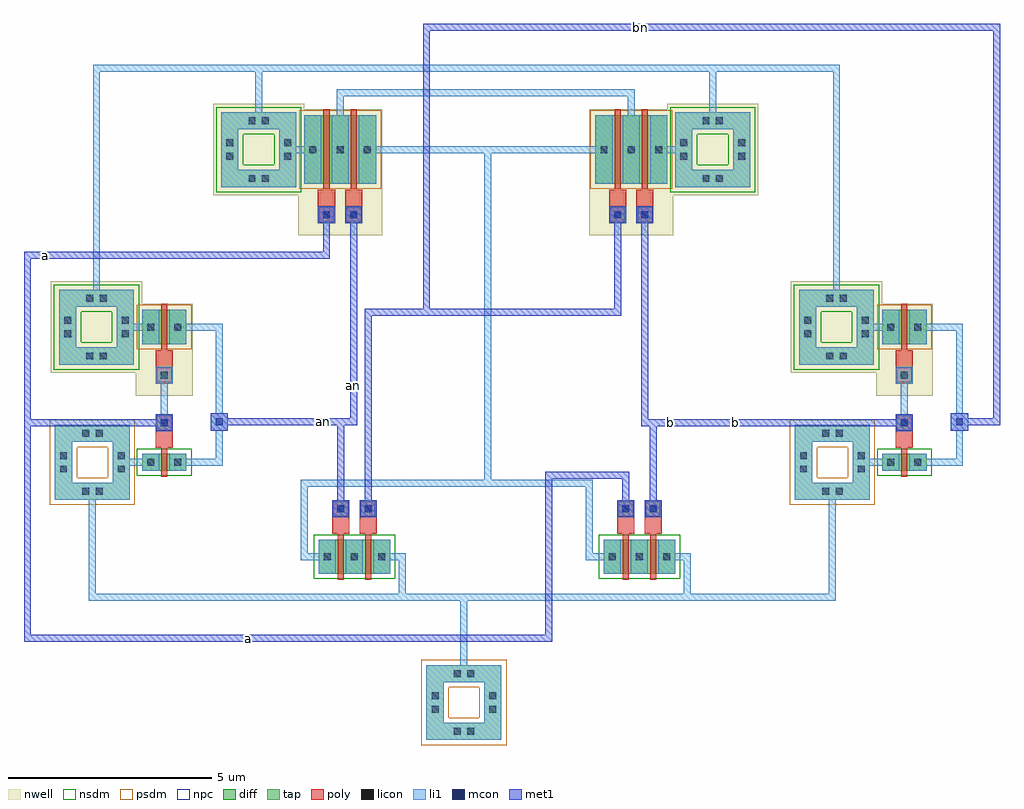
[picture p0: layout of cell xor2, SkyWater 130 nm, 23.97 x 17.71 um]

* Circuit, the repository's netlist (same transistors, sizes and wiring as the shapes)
* extracted by klt extract --deck sky130

* cell xor2
* pin a,b,invb_a,mn12_g1,mp24_g0
* pin a,inva_a,mn12_g0,mp13_g0
* pin an,inva_y,mn34_g0,mp13_g1,y
* pin bn,invb_y,mn34_g1,mp24_g1,y
* pin mid
* pin vdd
* pin vss
* pin y
.SUBCKT xor2 a|b|invb_a|mn12_g1|mp24_g0 a|inva_a|mn12_g0|mp13_g0
+ an|inva_y|mn34_g0|mp13_g1|y bn|invb_y|mn34_g1|mp24_g1|y mid vdd vss y
* device instance $1 r0 *1 0.895,3 nfet
M$1 \$3 an|inva_y|mn34_g0|mp13_g1|y y vss nfet L=0.15U W=0.84U AS=0.3948P
+ AD=0.2184P PS=2.62U PD=1.36U
* device instance $2 r0 *1 1.565,3 nfet
M$2 vss bn|invb_y|mn34_g1|mp24_g1|y \$3 vss nfet L=0.15U W=0.84U AS=0.2184P
+ AD=0.3948P PS=1.36U PD=2.62U
* device instance $3 r0 *1 7.895,3 nfet
M$3 \$6 a|inva_a|mn12_g0|mp13_g0 y vss nfet L=0.15U W=0.84U AS=0.3948P
+ AD=0.2184P PS=2.62U PD=1.36U
* device instance $4 r0 *1 8.565,3 nfet
M$4 vss a|b|invb_a|mn12_g1|mp24_g0 \$6 vss nfet L=0.15U W=0.84U AS=0.2184P
+ AD=0.3948P PS=1.36U PD=2.62U
* device instance $5 r0 *1 -3.44,5.32 nfet
M$5 an|inva_y|mn34_g0|mp13_g1|y a|inva_a|mn12_g0|mp13_g0 vss vss nfet L=0.15U
+ W=0.42U AS=0.1974P AD=0.1974P PS=1.78U PD=1.78U
* device instance $6 r0 *1 14.735,5.32 nfet
M$6 bn|invb_y|mn34_g1|mp24_g1|y a|b|invb_a|mn12_g1|mp24_g0 vss vss nfet L=0.15U
+ W=0.42U AS=0.1974P AD=0.1974P PS=1.78U PD=1.78U
* device instance $7 r0 *1 -3.44,8.64 pfet
M$7 an|inva_y|mn34_g0|mp13_g1|y a|inva_a|mn12_g0|mp13_g0 vdd vdd pfet L=0.15U
+ W=0.84U AS=0.3948P AD=0.3948P PS=2.62U PD=2.62U
* device instance $8 r0 *1 14.735,8.64 pfet
M$8 bn|invb_y|mn34_g1|mp24_g1|y a|b|invb_a|mn12_g1|mp24_g0 vdd vdd pfet L=0.15U
+ W=0.84U AS=0.3948P AD=0.3948P PS=2.62U PD=2.62U
* device instance $9 r0 *1 0.545,13 pfet
M$9 mid a|inva_a|mn12_g0|mp13_g0 vdd vdd pfet L=0.15U W=1.68U AS=0.7896P
+ AD=0.4368P PS=4.3U PD=2.2U
* device instance $10 r0 *1 1.215,13 pfet
M$10 y an|inva_y|mn34_g0|mp13_g1|y mid vdd pfet L=0.15U W=1.68U AS=0.4368P
+ AD=0.7896P PS=2.2U PD=4.3U
* device instance $11 r0 *1 7.695,13 pfet
M$11 mid bn|invb_y|mn34_g1|mp24_g1|y y vdd pfet L=0.15U W=1.68U AS=0.7896P
+ AD=0.4368P PS=4.3U PD=2.2U
* device instance $12 r0 *1 8.365,13 pfet
M$12 vdd a|b|invb_a|mn12_g1|mp24_g0 mid vdd pfet L=0.15U W=1.68U AS=0.4368P
+ AD=0.7896P PS=2.2U PD=4.3U
.ENDS xor2

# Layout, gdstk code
from math import pi, radians
import gdstk
lib = gdstk.Library(unit=1e-6, precision=1e-09)
def R(c, l, rs):  # rectangles x0, y0, x1, y1
    for r in rs: c.add(gdstk.rectangle(r[:2], r[2:], *l))
def A(c, l, x, y, w, h, nx, ny, dx, dy):  # array of equal rectangles
    R(c, l, [(x+i*dx, y+j*dy, x+i*dx+w, y+j*dy+h) for i in range(nx) for j in range(ny)])
def P(c, l, *ps):  # polygons
    for p in ps: c.add(gdstk.Polygon(p, *l))
nwell = (64, 20)
diff = (65, 20)
tap = (65, 44)
poly = (66, 20)
licon = (66, 44)
li1 = (67, 20)
mcon = (67, 44)
met1 = (68, 20)
nsdm = (93, 44)
psdm = (94, 20)
npc = (95, 20)

guard_ring_4 = lib.new_cell('guard_ring$4')
P(guard_ring_4, tap, [(0,0),(0,1.42),(0.42,1.42),(0.42,0.42),(1.42,0.42),(1.42,1.42),(0,1.42),(0,1.84),(1.84,1.84),(1.84,0)])
R(guard_ring_4, licon, [(0.67,0.125,0.84,0.295), (1,0.125,1.17,0.295), (0.125,0.67,0.295,0.84), (1.545,0.67,1.715,0.84), (0.125,1,0.295,1.17), (1.545,1,1.715,1.17), (0.67,1.545,0.84,1.715), (1,1.545,1.17,1.715)])
P(guard_ring_4, li1, [(0,0),(0,1.42),(0.42,1.42),(0.42,0.42),(1.42,0.42),(1.42,1.42),(0,1.42),(0,1.84),(1.84,1.84),(1.84,0)])
P(guard_ring_4, psdm, [(-0.125,-0.125),(-0.125,1.295),(0.545,1.295),(0.545,0.545),(1.295,0.545),(1.295,1.295),(-0.125,1.295),(-0.125,1.965),(1.965,1.965),(1.965,-0.125)])

psub_tap__psub_tap_1 = lib.new_cell('psub_tap__psub_tap$1')
psub_tap__psub_tap_1.add(gdstk.Reference(guard_ring_4, (0,0)))

mos_array_5 = lib.new_cell('mos_array$5')
R(mos_array_5, diff, [(0,0,1.09,0.42)])
R(mos_array_5, poly, [(0.47,-0.15,0.62,0.42), (0.47,0.42,0.62,0.57), (0.47,0.42,0.62,0.57), (0.335,0.57,0.755,1.39)])
R(mos_array_5, licon, [(0.125,0.125,0.295,0.295), (0.795,0.125,0.965,0.295), (0.46,1.095,0.63,1.265)])
R(mos_array_5, li1, [(0,0,0.42,0.42), (0.67,0,1.09,0.42), (0.335,0.97,0.755,1.39)])
R(mos_array_5, nsdm, [(-0.125,-0.125,1.215,0.545)])
R(mos_array_5, npc, [(0.365,1,0.725,1.36)])

mn__nfet_w0p42_l0p15_1 = lib.new_cell('mn__nfet_w0p42_l0p15$1')
mn__nfet_w0p42_l0p15_1.add(gdstk.Reference(mos_array_5, (0,0)))

guard_ring_1_2 = lib.new_cell('guard_ring$1$2')
R(guard_ring_1_2, nwell, [(-0.2,-0.2,2.04,2.04)])
P(guard_ring_1_2, tap, [(0,0),(0,1.42),(0.42,1.42),(0.42,0.42),(1.42,0.42),(1.42,1.42),(0,1.42),(0,1.84),(1.84,1.84),(1.84,0)])
R(guard_ring_1_2, licon, [(0.67,0.125,0.84,0.295), (1,0.125,1.17,0.295), (0.125,0.67,0.295,0.84), (1.545,0.67,1.715,0.84), (0.125,1,0.295,1.17), (1.545,1,1.715,1.17), (0.67,1.545,0.84,1.715), (1,1.545,1.17,1.715)])
P(guard_ring_1_2, li1, [(0,0),(0,1.42),(0.42,1.42),(0.42,0.42),(1.42,0.42),(1.42,1.42),(0,1.42),(0,1.84),(1.84,1.84),(1.84,0)])
P(guard_ring_1_2, nsdm, [(-0.125,-0.125),(-0.125,1.295),(0.545,1.295),(0.545,0.545),(1.295,0.545),(1.295,1.295),(-0.125,1.295),(-0.125,1.965),(1.965,1.965),(1.965,-0.125)])

nwell_tap__nwell_tap_1 = lib.new_cell('nwell_tap__nwell_tap$1')
nwell_tap__nwell_tap_1.add(gdstk.Reference(guard_ring_1_2, (0,0)))

mos_array_1_2 = lib.new_cell('mos_array$1$2')
R(mos_array_1_2, nwell, [(-0.15,-0.15,1.24,2.11)])
R(mos_array_1_2, diff, [(0,0,1.09,0.84)])
R(mos_array_1_2, poly, [(0.47,-0.15,0.62,0.84), (0.47,0.84,0.62,0.99), (0.47,0.84,0.62,0.99), (0.335,0.99,0.755,1.81)])
R(mos_array_1_2, licon, [(0.125,0.335,0.295,0.505), (0.795,0.335,0.965,0.505), (0.46,1.515,0.63,1.685)])
R(mos_array_1_2, li1, [(0,0,0.42,0.84), (0.67,0,1.09,0.84), (0.335,1.39,0.755,1.81)])
R(mos_array_1_2, psdm, [(-0.125,-0.125,1.215,0.965)])
R(mos_array_1_2, npc, [(0.365,1.42,0.725,1.78)])

mp__pfet_w0p84_l0p15_1 = lib.new_cell('mp__pfet_w0p84_l0p15$1')
mp__pfet_w0p84_l0p15_1.add(gdstk.Reference(mos_array_1_2, (0,0)))

inv_b__ro_buf = lib.new_cell('inv_b__ro_buf')
R(inv_b__ro_buf, li1, [(0.335,1.18,0.755,1.35), (0.335,2.18,0.755,2.35)])
inv_b__ro_buf.add(gdstk.FlexPath([(0.545,2.35),(0.545,1.18)], 0.17, ends="flush", simple_path=True, layer=67, datatype=20))  # li1
inv_b__ro_buf.add(gdstk.FlexPath([(0.88,3.53),(1.9,3.53),(1.9,0.21),(0.88,0.21)], 0.17, ends="flush", simple_path=True, layer=67, datatype=20))  # li1
inv_b__ro_buf.add(gdstk.FlexPath([(0.21,3.53),(-0.41,3.53)], 0.17, ends="flush", simple_path=True, layer=67, datatype=20))  # li1
inv_b__ro_buf.add(gdstk.FlexPath([(0.21,0.21),(-0.51,0.21)], 0.17, ends="flush", simple_path=True, layer=67, datatype=20))  # li1
inv_b__ro_buf.add(gdstk.Reference(psub_tap__psub_tap_1, (-2.14,-0.71)))
inv_b__ro_buf.add(gdstk.Reference(mn__nfet_w0p42_l0p15_1, (0,0)))
inv_b__ro_buf.add(gdstk.Reference(nwell_tap__nwell_tap_1, (-2.04,2.61)))
inv_b__ro_buf.add(gdstk.Reference(mp__pfet_w0p84_l0p15_1, (0,3.95), x_reflection=True))
inv_b__ro_buf.add(gdstk.Label('a', (0.545,1.765), layer=67, texttype=5))
inv_b__ro_buf.add(gdstk.Label('y', (1.9,1.87), layer=67, texttype=5))
inv_b__ro_buf.add(gdstk.Label('vdd', (-0.1,3.53), layer=67, texttype=5))
inv_b__ro_buf.add(gdstk.Label('vss', (-0.15,0.21), layer=67, texttype=5))
inv_b__ro_buf.add(gdstk.Label('vdd', (-1.12,4.24), layer=67, texttype=5))
inv_b__ro_buf.add(gdstk.Label('vss', (-1.22,0.92), layer=67, texttype=5))

guard_ring_3 = lib.new_cell('guard_ring$3')
P(guard_ring_3, tap, [(0,0),(0,1.42),(0.42,1.42),(0.42,0.42),(1.42,0.42),(1.42,1.42),(0,1.42),(0,1.84),(1.84,1.84),(1.84,0)])
R(guard_ring_3, licon, [(0.67,0.125,0.84,0.295), (1,0.125,1.17,0.295), (0.125,0.67,0.295,0.84), (1.545,0.67,1.715,0.84), (0.125,1,0.295,1.17), (1.545,1,1.715,1.17), (0.67,1.545,0.84,1.715), (1,1.545,1.17,1.715)])
P(guard_ring_3, li1, [(0,0),(0,1.42),(0.42,1.42),(0.42,0.42),(1.42,0.42),(1.42,1.42),(0,1.42),(0,1.84),(1.84,1.84),(1.84,0)])
P(guard_ring_3, psdm, [(-0.125,-0.125),(-0.125,1.295),(0.545,1.295),(0.545,0.545),(1.295,0.545),(1.295,1.295),(-0.125,1.295),(-0.125,1.965),(1.965,1.965),(1.965,-0.125)])

psub_tap__psub_tap = lib.new_cell('psub_tap__psub_tap')
psub_tap__psub_tap.add(gdstk.Reference(guard_ring_3, (0,0)))

mos_array_4 = lib.new_cell('mos_array$4')
R(mos_array_4, diff, [(0,0,1.09,0.42)])
R(mos_array_4, poly, [(0.47,-0.15,0.62,0.42), (0.47,0.42,0.62,0.57), (0.47,0.42,0.62,0.57), (0.335,0.57,0.755,1.39)])
R(mos_array_4, licon, [(0.125,0.125,0.295,0.295), (0.795,0.125,0.965,0.295), (0.46,1.095,0.63,1.265)])
R(mos_array_4, li1, [(0,0,0.42,0.42), (0.67,0,1.09,0.42), (0.335,0.97,0.755,1.39)])
R(mos_array_4, nsdm, [(-0.125,-0.125,1.215,0.545)])
R(mos_array_4, npc, [(0.365,1,0.725,1.36)])

mn__nfet_w0p42_l0p15 = lib.new_cell('mn__nfet_w0p42_l0p15')
mn__nfet_w0p42_l0p15.add(gdstk.Reference(mos_array_4, (0,0)))

guard_ring_1_1 = lib.new_cell('guard_ring$1$1')
R(guard_ring_1_1, nwell, [(-0.2,-0.2,2.04,2.04)])
P(guard_ring_1_1, tap, [(0,0),(0,1.42),(0.42,1.42),(0.42,0.42),(1.42,0.42),(1.42,1.42),(0,1.42),(0,1.84),(1.84,1.84),(1.84,0)])
R(guard_ring_1_1, licon, [(0.67,0.125,0.84,0.295), (1,0.125,1.17,0.295), (0.125,0.67,0.295,0.84), (1.545,0.67,1.715,0.84), (0.125,1,0.295,1.17), (1.545,1,1.715,1.17), (0.67,1.545,0.84,1.715), (1,1.545,1.17,1.715)])
P(guard_ring_1_1, li1, [(0,0),(0,1.42),(0.42,1.42),(0.42,0.42),(1.42,0.42),(1.42,1.42),(0,1.42),(0,1.84),(1.84,1.84),(1.84,0)])
P(guard_ring_1_1, nsdm, [(-0.125,-0.125),(-0.125,1.295),(0.545,1.295),(0.545,0.545),(1.295,0.545),(1.295,1.295),(-0.125,1.295),(-0.125,1.965),(1.965,1.965),(1.965,-0.125)])

nwell_tap__nwell_tap = lib.new_cell('nwell_tap__nwell_tap')
nwell_tap__nwell_tap.add(gdstk.Reference(guard_ring_1_1, (0,0)))

mos_array_1_1 = lib.new_cell('mos_array$1$1')
R(mos_array_1_1, nwell, [(-0.15,-0.15,1.24,2.11)])
R(mos_array_1_1, diff, [(0,0,1.09,0.84)])
R(mos_array_1_1, poly, [(0.47,-0.15,0.62,0.84), (0.47,0.84,0.62,0.99), (0.47,0.84,0.62,0.99), (0.335,0.99,0.755,1.81)])
R(mos_array_1_1, licon, [(0.125,0.335,0.295,0.505), (0.795,0.335,0.965,0.505), (0.46,1.515,0.63,1.685)])
R(mos_array_1_1, li1, [(0,0,0.42,0.84), (0.67,0,1.09,0.84), (0.335,1.39,0.755,1.81)])
R(mos_array_1_1, psdm, [(-0.125,-0.125,1.215,0.965)])
R(mos_array_1_1, npc, [(0.365,1.42,0.725,1.78)])

mp__pfet_w0p84_l0p15 = lib.new_cell('mp__pfet_w0p84_l0p15')
mp__pfet_w0p84_l0p15.add(gdstk.Reference(mos_array_1_1, (0,0)))

inv_a__ro_buf = lib.new_cell('inv_a__ro_buf')
R(inv_a__ro_buf, li1, [(0.335,1.18,0.755,1.35), (0.335,2.18,0.755,2.35)])
inv_a__ro_buf.add(gdstk.FlexPath([(0.545,2.35),(0.545,1.18)], 0.17, ends="flush", simple_path=True, layer=67, datatype=20))  # li1
inv_a__ro_buf.add(gdstk.FlexPath([(0.88,3.53),(1.9,3.53),(1.9,0.21),(0.88,0.21)], 0.17, ends="flush", simple_path=True, layer=67, datatype=20))  # li1
inv_a__ro_buf.add(gdstk.FlexPath([(0.21,3.53),(-0.41,3.53)], 0.17, ends="flush", simple_path=True, layer=67, datatype=20))  # li1
inv_a__ro_buf.add(gdstk.FlexPath([(0.21,0.21),(-0.51,0.21)], 0.17, ends="flush", simple_path=True, layer=67, datatype=20))  # li1
inv_a__ro_buf.add(gdstk.Reference(psub_tap__psub_tap, (-2.14,-0.71)))
inv_a__ro_buf.add(gdstk.Reference(mn__nfet_w0p42_l0p15, (0,0)))
inv_a__ro_buf.add(gdstk.Reference(nwell_tap__nwell_tap, (-2.04,2.61)))
inv_a__ro_buf.add(gdstk.Reference(mp__pfet_w0p84_l0p15, (0,3.95), x_reflection=True))
inv_a__ro_buf.add(gdstk.Label('a', (0.545,1.765), layer=67, texttype=5))
inv_a__ro_buf.add(gdstk.Label('y', (1.9,1.87), layer=67, texttype=5))
inv_a__ro_buf.add(gdstk.Label('vdd', (-0.1,3.53), layer=67, texttype=5))
inv_a__ro_buf.add(gdstk.Label('vss', (-0.15,0.21), layer=67, texttype=5))
inv_a__ro_buf.add(gdstk.Label('vdd', (-1.12,4.24), layer=67, texttype=5))
inv_a__ro_buf.add(gdstk.Label('vss', (-1.22,0.92), layer=67, texttype=5))

guard_ring_2 = lib.new_cell('guard_ring$2')
P(guard_ring_2, tap, [(0,0),(0,1.42),(0.42,1.42),(0.42,0.42),(1.42,0.42),(1.42,1.42),(0,1.42),(0,1.84),(1.84,1.84),(1.84,0)])
R(guard_ring_2, licon, [(0.67,0.125,0.84,0.295), (1,0.125,1.17,0.295), (0.125,0.67,0.295,0.84), (1.545,0.67,1.715,0.84), (0.125,1,0.295,1.17), (1.545,1,1.715,1.17), (0.67,1.545,0.84,1.715), (1,1.545,1.17,1.715)])
P(guard_ring_2, li1, [(0,0),(0,1.42),(0.42,1.42),(0.42,0.42),(1.42,0.42),(1.42,1.42),(0,1.42),(0,1.84),(1.84,1.84),(1.84,0)])
P(guard_ring_2, psdm, [(-0.125,-0.125),(-0.125,1.295),(0.545,1.295),(0.545,0.545),(1.295,0.545),(1.295,1.295),(-0.125,1.295),(-0.125,1.965),(1.965,1.965),(1.965,-0.125)])

pst__pst = lib.new_cell('pst__pst')
pst__pst.add(gdstk.Reference(guard_ring_2, (0,0)))

guard_ring_1 = lib.new_cell('guard_ring$1')
R(guard_ring_1, nwell, [(-0.2,-0.2,2.04,2.04)])
P(guard_ring_1, tap, [(0,0),(0,1.42),(0.42,1.42),(0.42,0.42),(1.42,0.42),(1.42,1.42),(0,1.42),(0,1.84),(1.84,1.84),(1.84,0)])
R(guard_ring_1, licon, [(0.67,0.125,0.84,0.295), (1,0.125,1.17,0.295), (0.125,0.67,0.295,0.84), (1.545,0.67,1.715,0.84), (0.125,1,0.295,1.17), (1.545,1,1.715,1.17), (0.67,1.545,0.84,1.715), (1,1.545,1.17,1.715)])
P(guard_ring_1, li1, [(0,0),(0,1.42),(0.42,1.42),(0.42,0.42),(1.42,0.42),(1.42,1.42),(0,1.42),(0,1.84),(1.84,1.84),(1.84,0)])
P(guard_ring_1, nsdm, [(-0.125,-0.125),(-0.125,1.295),(0.545,1.295),(0.545,0.545),(1.295,0.545),(1.295,1.295),(-0.125,1.295),(-0.125,1.965),(1.965,1.965),(1.965,-0.125)])

nwt2__nwt2 = lib.new_cell('nwt2__nwt2')
nwt2__nwt2.add(gdstk.Reference(guard_ring_1, (0,0)))

guard_ring = lib.new_cell('guard_ring')
R(guard_ring, nwell, [(-0.2,-0.2,2.04,2.04)])
P(guard_ring, tap, [(0,0),(0,1.42),(0.42,1.42),(0.42,0.42),(1.42,0.42),(1.42,1.42),(0,1.42),(0,1.84),(1.84,1.84),(1.84,0)])
R(guard_ring, licon, [(0.67,0.125,0.84,0.295), (1,0.125,1.17,0.295), (0.125,0.67,0.295,0.84), (1.545,0.67,1.715,0.84), (0.125,1,0.295,1.17), (1.545,1,1.715,1.17), (0.67,1.545,0.84,1.715), (1,1.545,1.17,1.715)])
P(guard_ring, li1, [(0,0),(0,1.42),(0.42,1.42),(0.42,0.42),(1.42,0.42),(1.42,1.42),(0,1.42),(0,1.84),(1.84,1.84),(1.84,0)])
P(guard_ring, nsdm, [(-0.125,-0.125),(-0.125,1.295),(0.545,1.295),(0.545,0.545),(1.295,0.545),(1.295,1.295),(-0.125,1.295),(-0.125,1.965),(1.965,1.965),(1.965,-0.125)])

nwt1__nwt1 = lib.new_cell('nwt1__nwt1')
nwt1__nwt1.add(gdstk.Reference(guard_ring, (0,0)))

mos_array_3 = lib.new_cell('mos_array$3')
R(mos_array_3, diff, [(0,0,1.76,0.84)])
R(mos_array_3, poly, [(0.47,-0.15,0.62,0.84), (1.14,-0.15,1.29,0.84), (0.47,0.84,0.62,0.99), (0.47,0.84,0.62,0.99), (1.14,0.84,1.29,0.99), (1.14,0.84,1.29,0.99), (0.335,0.99,0.755,1.81), (1.005,0.99,1.425,1.81)])
A(mos_array_3, licon, 0.125, 0.335, 0.17, 0.17, 3, 1, 0.67, 0)
R(mos_array_3, licon, [(0.46,1.515,0.63,1.685), (1.13,1.515,1.3,1.685)])
A(mos_array_3, li1, 0, 0, 0.42, 0.84, 3, 1, 0.67, 0)
R(mos_array_3, li1, [(0.335,1.39,0.755,1.81), (1.005,1.39,1.425,1.81)])
R(mos_array_3, nsdm, [(-0.125,-0.125,1.885,0.965)])
R(mos_array_3, npc, [(0.365,1.42,0.725,1.78), (1.035,1.42,1.395,1.78)])

mn12__mn12 = lib.new_cell('mn12__mn12')
mn12__mn12.add(gdstk.Reference(mos_array_3, (0,0)))

mos_array_2 = lib.new_cell('mos_array$2')
R(mos_array_2, diff, [(0,0,1.76,0.84)])
R(mos_array_2, poly, [(0.47,-0.15,0.62,0.84), (1.14,-0.15,1.29,0.84), (0.47,0.84,0.62,0.99), (0.47,0.84,0.62,0.99), (1.14,0.84,1.29,0.99), (1.14,0.84,1.29,0.99), (0.335,0.99,0.755,1.81), (1.005,0.99,1.425,1.81)])
A(mos_array_2, licon, 0.125, 0.335, 0.17, 0.17, 3, 1, 0.67, 0)
R(mos_array_2, licon, [(0.46,1.515,0.63,1.685), (1.13,1.515,1.3,1.685)])
A(mos_array_2, li1, 0, 0, 0.42, 0.84, 3, 1, 0.67, 0)
R(mos_array_2, li1, [(0.335,1.39,0.755,1.81), (1.005,1.39,1.425,1.81)])
R(mos_array_2, nsdm, [(-0.125,-0.125,1.885,0.965)])
R(mos_array_2, npc, [(0.365,1.42,0.725,1.78), (1.035,1.42,1.395,1.78)])

mn34__mn34 = lib.new_cell('mn34__mn34')
mn34__mn34.add(gdstk.Reference(mos_array_2, (0,0)))

mos_array_1 = lib.new_cell('mos_array$1')
R(mos_array_1, nwell, [(-0.15,-0.15,1.91,2.95)])
R(mos_array_1, diff, [(0,0,1.76,1.68)])
R(mos_array_1, poly, [(0.47,-0.15,0.62,1.68), (1.14,-0.15,1.29,1.68), (0.47,1.68,0.62,1.83), (0.47,1.68,0.62,1.83), (1.14,1.68,1.29,1.83), (1.14,1.68,1.29,1.83), (0.335,1.83,0.755,2.65), (1.005,1.83,1.425,2.65)])
A(mos_array_1, licon, 0.125, 0.755, 0.17, 0.17, 3, 1, 0.67, 0)
R(mos_array_1, licon, [(0.46,2.355,0.63,2.525), (1.13,2.355,1.3,2.525)])
A(mos_array_1, li1, 0, 0, 0.42, 1.68, 3, 1, 0.67, 0)
R(mos_array_1, li1, [(0.335,2.23,0.755,2.65), (1.005,2.23,1.425,2.65)])
R(mos_array_1, psdm, [(-0.125,-0.125,1.885,1.805)])
R(mos_array_1, npc, [(0.365,2.26,0.725,2.62), (1.035,2.26,1.395,2.62)])

mp24__mp24 = lib.new_cell('mp24__mp24')
mp24__mp24.add(gdstk.Reference(mos_array_1, (0,0)))

mos_array = lib.new_cell('mos_array')
R(mos_array, nwell, [(-0.15,-0.15,1.91,2.95)])
R(mos_array, diff, [(0,0,1.76,1.68)])
R(mos_array, poly, [(0.47,-0.15,0.62,1.68), (1.14,-0.15,1.29,1.68), (0.47,1.68,0.62,1.83), (0.47,1.68,0.62,1.83), (1.14,1.68,1.29,1.83), (1.14,1.68,1.29,1.83), (0.335,1.83,0.755,2.65), (1.005,1.83,1.425,2.65)])
A(mos_array, licon, 0.125, 0.755, 0.17, 0.17, 3, 1, 0.67, 0)
R(mos_array, licon, [(0.46,2.355,0.63,2.525), (1.13,2.355,1.3,2.525)])
A(mos_array, li1, 0, 0, 0.42, 1.68, 3, 1, 0.67, 0)
R(mos_array, li1, [(0.335,2.23,0.755,2.65), (1.005,2.23,1.425,2.65)])
R(mos_array, psdm, [(-0.125,-0.125,1.885,1.805)])
R(mos_array, npc, [(0.365,2.26,0.725,2.62), (1.035,2.26,1.395,2.62)])

mp13__mp13 = lib.new_cell('mp13__mp13')
mp13__mp13.add(gdstk.Reference(mos_array, (0,0)))

core__core = lib.new_cell('core__core')
R(core__core, li1, [(3.71,0.13,4.13,0.3), (3.71,0.13,4.13,0.3), (-5.415,4.44,-4.995,4.61), (12.76,4.44,13.18,4.61), (-5.315,9.35,-4.895,9.52), (12.86,9.35,13.28,9.52), (0.67,13,1.09,13.17), (7.82,13,8.24,13.17), (-1.33,13.71,-0.91,13.88), (-1.33,13.71,-0.91,13.88), (9.82,13.71,10.24,13.88), (9.82,13.71,10.24,13.88)])
core__core.add(gdstk.FlexPath([(0.21,13),(-0.41,13)], 0.17, ends="flush", simple_path=True, layer=67, datatype=20))  # li1
core__core.add(gdstk.FlexPath([(8.7,13),(9.32,13)], 0.17, ends="flush", simple_path=True, layer=67, datatype=20))  # li1
core__core.add(gdstk.FlexPath([(-5.105,9.35),(-5.105,15),(-1.12,15),(-1.12,13.71)], 0.17, ends="flush", simple_path=True, layer=67, datatype=20))  # li1
core__core.add(gdstk.FlexPath([(-1.12,13.71),(-1.12,15),(10.03,15),(10.03,13.71)], 0.17, ends="flush", simple_path=True, layer=67, datatype=20))  # li1
core__core.add(gdstk.FlexPath([(10.03,13.71),(10.03,15),(13.07,15),(13.07,9.35)], 0.17, ends="flush", simple_path=True, layer=67, datatype=20))  # li1
core__core.add(gdstk.FlexPath([(0.88,13),(0.88,14.4),(8.03,14.4),(8.03,13)], 0.17, ends="flush", simple_path=True, layer=67, datatype=20))  # li1
core__core.add(gdstk.FlexPath([(1.55,13),(7.36,13)], 0.17, ends="flush", simple_path=True, layer=67, datatype=20))  # li1
core__core.add(gdstk.FlexPath([(7.36,13),(4.5,13),(4.5,4.8),(7,4.8),(7,3),(7.56,3)], 0.17, ends="flush", simple_path=True, layer=67, datatype=20))  # li1
core__core.add(gdstk.FlexPath([(7.56,3),(7,3),(7,4.8),(0,4.8),(0,3),(0.56,3)], 0.17, ends="flush", simple_path=True, layer=67, datatype=20))  # li1
core__core.add(gdstk.FlexPath([(-5.205,4.61),(-5.205,2),(2.4,2),(2.4,3),(1.9,3)], 0.17, ends="flush", simple_path=True, layer=67, datatype=20))  # li1
core__core.add(gdstk.FlexPath([(1.9,3),(2.4,3),(2.4,2),(3.92,2),(3.92,0.13)], 0.17, ends="flush", simple_path=True, layer=67, datatype=20))  # li1
core__core.add(gdstk.FlexPath([(3.92,0.13),(3.92,2),(9.4,2),(9.4,3),(8.9,3)], 0.17, ends="flush", simple_path=True, layer=67, datatype=20))  # li1
core__core.add(gdstk.FlexPath([(8.9,3),(9.4,3),(9.4,2),(12.97,2),(12.97,4.61)], 0.17, ends="flush", simple_path=True, layer=67, datatype=20))  # li1
core__core.add(gdstk.Reference(inv_b__ro_buf, (14.19,5.11)))
core__core.add(gdstk.Reference(inv_a__ro_buf, (-3.985,5.11)))
core__core.add(gdstk.Reference(pst__pst, (3,-1.5)))
core__core.add(gdstk.Reference(nwt2__nwt2, (9.11,12.08)))
core__core.add(gdstk.Reference(nwt1__nwt1, (-2.04,12.08)))
core__core.add(gdstk.Reference(mn12__mn12, (7.35,2.58)))
core__core.add(gdstk.Reference(mn34__mn34, (0.35,2.58)))
core__core.add(gdstk.Reference(mp24__mp24, (8.91,13.84), rotation=pi))
core__core.add(gdstk.Reference(mp13__mp13, (0,13.84), x_reflection=True))
core__core.add(gdstk.Label('vdd', (-0.1,13), layer=67, texttype=5))
core__core.add(gdstk.Label('vdd', (9.01,13), layer=67, texttype=5))
core__core.add(gdstk.Label('vdd', (-5.105,14.812), layer=67, texttype=5))
core__core.add(gdstk.Label('vdd', (4.455,15), layer=67, texttype=5))
core__core.add(gdstk.Label('vdd', (13.07,14.34), layer=67, texttype=5))
core__core.add(gdstk.Label('mid', (4.455,14.4), layer=67, texttype=5))
core__core.add(gdstk.Label('y', (4.455,13), layer=67, texttype=5))
core__core.add(gdstk.Label('y', (4.5,7.9), layer=67, texttype=5))
core__core.add(gdstk.Label('y', (3.5,4.8), layer=67, texttype=5))
core__core.add(gdstk.Label('vss', (-1.958,2), layer=67, texttype=5))
core__core.add(gdstk.Label('vss', (3.345,2), layer=67, texttype=5))
core__core.add(gdstk.Label('vss', (6.475,2), layer=67, texttype=5))
core__core.add(gdstk.Label('vss', (11.74,2), layer=67, texttype=5))
core__core.add(gdstk.Label('mp13_g0', (0.545,11.4), layer=67, texttype=5))
core__core.add(gdstk.Label('mp13_g1', (1.215,11.4), layer=67, texttype=5))
core__core.add(gdstk.Label('mp24_g0', (8.365,11.4), layer=67, texttype=5))
core__core.add(gdstk.Label('mp24_g1', (7.695,11.4), layer=67, texttype=5))
core__core.add(gdstk.Label('mn34_g0', (0.895,4.18), layer=67, texttype=5))
core__core.add(gdstk.Label('mn34_g1', (1.565,4.18), layer=67, texttype=5))
core__core.add(gdstk.Label('mn12_g0', (7.895,4.18), layer=67, texttype=5))
core__core.add(gdstk.Label('mn12_g1', (8.565,4.18), layer=67, texttype=5))
core__core.add(gdstk.Label('inva_a', (-3.44,6.29), layer=67, texttype=5))
core__core.add(gdstk.Label('inva_y', (-2.085,6.31), layer=67, texttype=5))
core__core.add(gdstk.Label('invb_a', (14.735,6.29), layer=67, texttype=5))
core__core.add(gdstk.Label('invb_y', (16.09,6.31), layer=67, texttype=5))

xor2 = lib.new_cell('xor2')
R(xor2, li1, [(0.685,3.97,1.105,4.39), (1.355,3.97,1.775,4.39), (7.685,3.97,8.105,4.39), (8.355,3.97,8.775,4.39), (-3.65,6.08,-3.23,6.5), (-3.65,6.08,-3.23,6.5), (14.525,6.08,14.945,6.5), (14.525,6.08,14.945,6.5), (-2.295,6.1,-1.875,6.52), (-2.295,6.1,-1.875,6.52), (15.88,6.1,16.3,6.52), (15.88,6.1,16.3,6.52), (0.335,11.19,0.755,11.61), (1.005,11.19,1.425,11.61), (7.485,11.19,7.905,11.61), (8.155,11.19,8.575,11.61)])
R(xor2, mcon, [(0.81,4.095,0.98,4.265), (1.48,4.095,1.65,4.265), (7.81,4.095,7.98,4.265), (8.48,4.095,8.65,4.265), (-3.525,6.205,-3.355,6.375), (-3.525,6.205,-3.355,6.375), (14.65,6.205,14.82,6.375), (14.65,6.205,14.82,6.375), (-2.17,6.225,-2,6.395), (-2.17,6.225,-2,6.395), (16.005,6.225,16.175,6.395), (16.005,6.225,16.175,6.395), (0.46,11.315,0.63,11.485), (1.13,11.315,1.3,11.485), (7.61,11.315,7.78,11.485), (8.28,11.315,8.45,11.485)])
R(xor2, met1, [(0.685,3.97,1.105,4.39), (1.355,3.97,1.775,4.39), (7.685,3.97,8.105,4.39), (8.355,3.97,8.775,4.39), (-3.65,6.08,-3.23,6.5), (-3.65,6.08,-3.23,6.5), (14.525,6.08,14.945,6.5), (14.525,6.08,14.945,6.5), (-2.295,6.1,-1.875,6.52), (-2.295,6.1,-1.875,6.52), (15.88,6.1,16.3,6.52), (15.88,6.1,16.3,6.52), (0.335,11.19,0.755,11.61), (1.005,11.19,1.425,11.61), (7.485,11.19,7.905,11.61), (8.155,11.19,8.575,11.61)])
xor2.add(gdstk.FlexPath([(0.545,11.4),(0.545,10.4),(-6.8,10.4),(-6.8,6.29),(-3.44,6.29)], 0.17, ends="flush", simple_path=True, layer=68, datatype=20))  # met1
xor2.add(gdstk.FlexPath([(-3.44,6.29),(-6.8,6.29),(-6.8,1),(6,1),(6,5),(7.895,5),(7.895,4.18)], 0.17, ends="flush", simple_path=True, layer=68, datatype=20))  # met1
xor2.add(gdstk.FlexPath([(-2.085,6.31),(1.215,6.31),(1.215,11.4)], 0.17, ends="flush", simple_path=True, layer=68, datatype=20))  # met1
xor2.add(gdstk.FlexPath([(-2.085,6.31),(0.895,6.31),(0.895,4.18)], 0.17, ends="flush", simple_path=True, layer=68, datatype=20))  # met1
xor2.add(gdstk.FlexPath([(14.735,6.29),(8.365,6.29),(8.365,11.4)], 0.17, ends="flush", simple_path=True, layer=68, datatype=20))  # met1
xor2.add(gdstk.FlexPath([(14.735,6.29),(8.565,6.29),(8.565,4.18)], 0.17, ends="flush", simple_path=True, layer=68, datatype=20))  # met1
xor2.add(gdstk.FlexPath([(16.09,6.31),(17,6.31),(17,16),(3,16),(3,9),(7.695,9),(7.695,11.4)], 0.17, ends="flush", simple_path=True, layer=68, datatype=20))  # met1
xor2.add(gdstk.FlexPath([(16.09,6.31),(17,6.31),(17,16),(3,16),(3,9),(1.565,9),(1.565,4.18)], 0.17, ends="flush", simple_path=True, layer=68, datatype=20))  # met1
xor2.add(gdstk.Reference(core__core, (0,0)))
xor2.add(gdstk.Label('a', (-6.362,10.4), layer=68, texttype=5))
xor2.add(gdstk.Label('a', (-1.367,1), layer=68, texttype=5))
xor2.add(gdstk.Label('an', (1.215,7.205), layer=68, texttype=5))
xor2.add(gdstk.Label('an', (0.47,6.31), layer=68, texttype=5))
xor2.add(gdstk.Label('b', (8.995,6.29), layer=68, texttype=5))
xor2.add(gdstk.Label('b', (10.595,6.29), layer=68, texttype=5))
xor2.add(gdstk.Label('bn', (8.253,16), layer=68, texttype=5))
xor2.add(gdstk.Label('bn', (8.672,16), layer=68, texttype=5))

lib.write_gds('xor2.gds')
